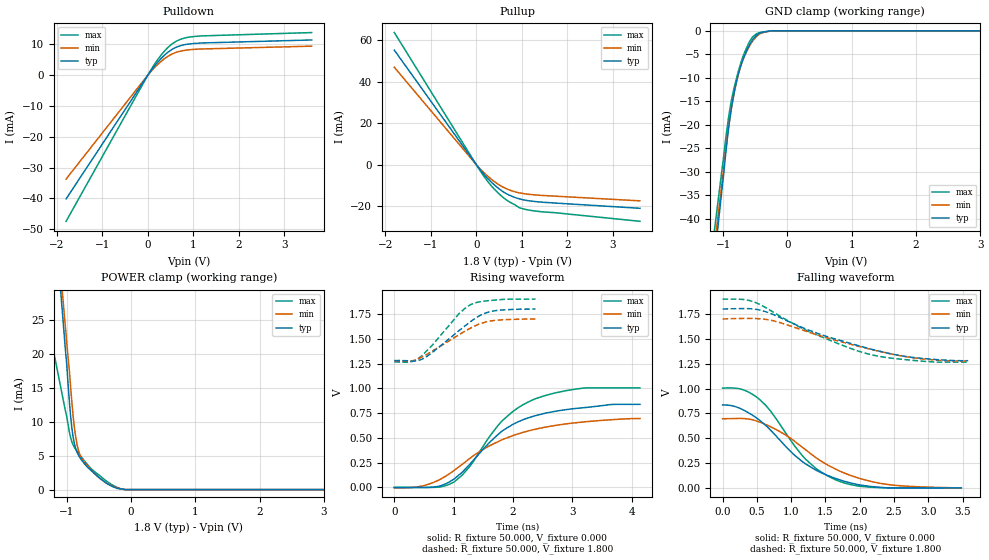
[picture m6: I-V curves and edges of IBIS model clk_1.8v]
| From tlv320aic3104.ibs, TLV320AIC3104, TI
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[Model]   clk_1.8v
Model_type I/O
Vinl=5.400E-01
Vinh=1.620E+00
Vref=0.000E+00
Rref=1.000E+06
Cref=0.000E+00
Vmeas=9.000E-01
C_comp   6.650E-13   6.560E-13   6.720E-13
[Voltage Range]   1.800E+00   1.700E+00   1.900E+00
[POWER Clamp Reference]   1.800E+00   1.700E+00   1.900E+00
[GND Clamp Reference]   0.000E+00   0.000E+00   0.000E+00
[Pullup Reference]   1.800E+00   1.700E+00   1.900E+00
[Pulldown Reference]   0.000E+00   0.000E+00   0.000E+00
[Temperature Range]   25   85   -40
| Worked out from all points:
|   slope of the pulldown table from 0 to 0.27 V, typ, clamps not added: 53.9 ohm
|   slope of the pullup table from 0 to 0.27 V, typ, clamps not added: 37.9 ohm
|   GND clamp passes 1 mA (typ) near -0.49 V on its own axis
|   POWER clamp passes 1 mA (typ) near -0.39 V on its own axis
|   rising waveform, R_fixture 50.000, V_fixture 0.000: 20-80 % time 953ps typ, 1.25ns min, 829ps max; typ from 0 V to 0.838 V
|   falling waveform, R_fixture 50.000, V_fixture 0.000: 20-80 % time 833ps typ, 954ps min, 688ps max; typ from 0.835 V to 0 V
|   rising waveform, R_fixture 50.000, V_fixture 1.800: 20-80 % time 654ps typ, 706ps min, 556ps max; typ from 1.28 V to 1.8 V
|   falling waveform, R_fixture 50.000, V_fixture 1.800: 20-80 % time 1.34ns typ, 1.32ns min, 1.18ns max; typ from 1.8 V to 1.28 V
[GND Clamp]
-1.8V     -134mA     -123.6mA   -115.9mA
-1.02V    -33.93mA   -32.49mA   -29.75mA
-920mV    -21.25mA   -20.94mA   -18.86mA
-880mV    -17.18mA   -17.17mA   -15.46mA
-820mV    -12.47mA   -12.58mA   -11.57mA
-760mV    -8.976mA   -9.067mA   -8.439mA
-680mV    -5.679mA   -5.71mA    -5.057mA
-580mV    -2.737mA   -2.994mA   -2.067mA
-480mV    -916uA     -1.161mA   -610.1uA
-400mV    -349.3uA   -434uA     -276.3uA
-240mV    0A         0A         0A
3.6V      0A         0A         0A
[Power Clamp]
-1.8V     112.8mA    107.9mA    48.72mA
-1.02V    20.58mA    23.94mA    11.61mA
-1V       18.49mA    21.78mA    10.83mA
-960mV    13.17mA    17.71mA    8.563mA
-920mV    9.1mA      12.9mA     7.054mA
-880mV    6.762mA    9.139mA    6.22mA
-820mV    5.13mA     5.885mA    5.407mA
-760mV    4.25mA     4.455mA    4.655mA
-620mV    2.815mA    2.892mA    3.076mA
-300mV    503.8uA    544.9uA    734.9uA
-100mV    23.66uA    19.08uA    2.664uA
3.6V      0A         0A         0A
[Pullup]
-1.8V     55.31mA    47.02mA    63.82mA
80mV      -2.311mA   -1.955mA   -2.762mA
340mV     -8.621mA   -7.245mA   -10.49mA
620mV     -13.54mA   -11.24mA   -16.39mA
940mV     -16.55mA   -13.65mA   -20.76mA
1.16V     -17.53mA   -14.4mA    -22.03mA
3.6V      -21.16mA   -17.57mA   -27.45mA
[Pulldown]
-1.8V     -40.14mA   -33.7mA    -47.39mA
0V        0A         0A         0A
160mV     3.188mA    2.638mA    3.828mA
300mV     5.481mA    4.515mA    6.612mA
420mV     7.119mA    5.845mA    8.616mA
520mV     8.176mA    6.695mA    9.92mA
740mV     9.559mA    7.785mA    11.65mA
1.02V     10.19mA    8.274mA    12.45mA
3.6V      11.31mA    9.312mA    13.71mA
[Rising Waveform]
R_fixture = 50.000
V_fixture = 0.000
V_fixture_min = 0.000
V_fixture_max = 0.000
|  time   V(typ)   V(min)   V(max)
0s        150.6uV    -3.716mV   0V
540ps     348.2uV    25.75mV    110uV
790ps     19.31mV    87.39mV    7.132mV
1.01ns    87.14mV    172.8mV    56.8mV
1.27ns    232.4mV    291.5mV    210.3mV
1.81ns    565.4mV    479.3mV    667.2mV
2.09ns    662.9mV    540.9mV    806.1mV
2.38ns    724.4mV    588.2mV    895.2mV
3.18ns    804.2mV    660.3mV    1.002V
4.14ns    838.3mV    695.4mV    1.005V
[Falling Waveform]
R_fixture = 50.000
V_fixture = 0.000
V_fixture_min = 0.000
V_fixture_max = 0.000
|  time   V(typ)   V(min)   V(max)
0s        834.7mV    696.1mV    1.005V
280ps     791.9mV    698.5mV    991.7mV
530ps     686.4mV    665.1mV    895.9mV
700ps     580.8mV    615.4mV    772.9mV
1.21ns    241.3mV    383.3mV    288.8mV
1.41ns    161.7mV    281mV      171.6mV
1.65ns    93.9mV     187.5mV    80.11mV
1.97ns    33.09mV    101mV      19.14mV
2.36ns    2.196mV    38.82mV    864.8uV
3.48ns    0V         0V         0V
[Rising Waveform]
R_fixture = 50.000
V_fixture = 1.800
V_fixture_min = 1.700
V_fixture_max = 1.900
|  time   V(typ)   V(min)   V(max)
0s        1.28V      1.278V     1.266V
240ps     1.277V     1.273V     1.264V
420ps     1.284V     1.303V     1.308V
630ps     1.357V     1.372V     1.429V
1.1ns     1.586V     1.545V     1.76V
1.3ns     1.68V      1.613V     1.848V
1.48ns    1.746V     1.658V     1.877V
1.63ns    1.776V     1.68V      1.887V
1.85ns    1.792V     1.692V     1.898V
2.38ns    1.8V       1.7V       1.9V
[Falling Waveform]
R_fixture = 50.000
V_fixture = 1.800
V_fixture_min = 1.700
V_fixture_max = 1.900
|  time   V(typ)   V(min)   V(max)
0s        1.8V       1.7V       1.9V
350ps     1.805V     1.706V     1.892V
580ps     1.784V     1.7V       1.833V
850ps     1.711V     1.661V     1.723V
1.23ns    1.595V     1.574V     1.582V
1.88ns    1.451V     1.443V     1.4V
2.12ns    1.405V     1.402V     1.348V
2.51ns    1.341V     1.341V     1.302V
2.87ns    1.306V     1.301V     1.278V
3.58ns    1.28V      1.278V     1.266V
[Ramp]
dV/dt_r   5.0291E-01/9.5305E-10   4.1946E-01/1.2481E-09   6.0445E-01/8.3250E-10
dV/dt_f   3.1183E-01/1.3382E-09   2.5318E-01/1.3156E-09   3.8052E-01/1.1807E-09
R_load = 50
